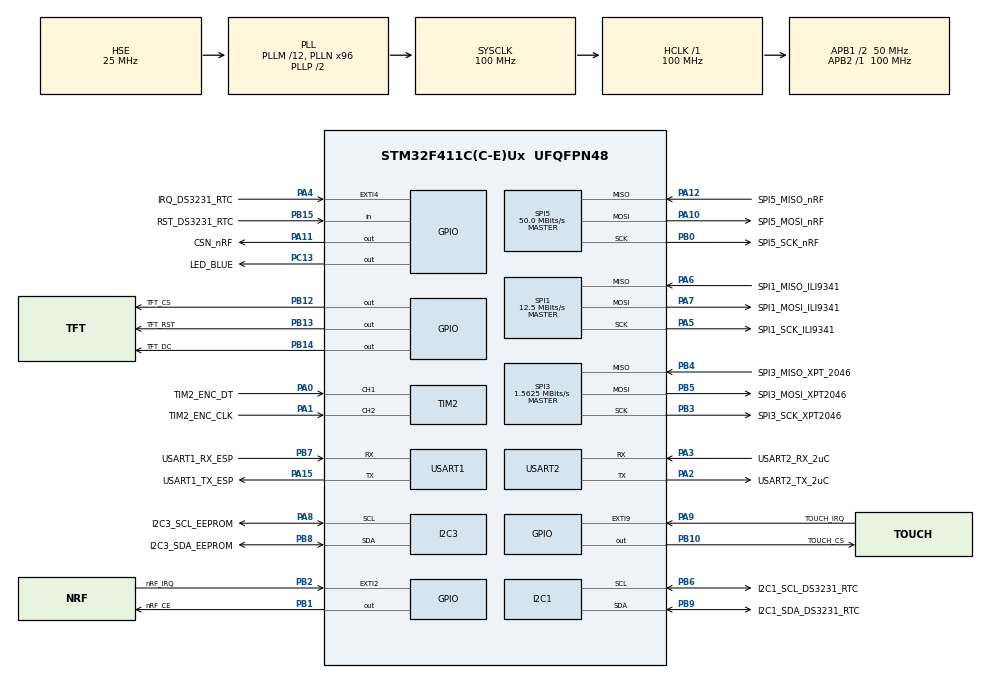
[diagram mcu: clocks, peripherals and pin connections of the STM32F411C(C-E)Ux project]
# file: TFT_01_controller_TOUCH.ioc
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Dma.I2C1_RX.2.Direction=DMA_PERIPH_TO_MEMORY
Dma.I2C1_RX.2.FIFOMode=DMA_FIFOMODE_DISABLE
Dma.I2C1_RX.2.Instance=DMA1_Stream0
Dma.I2C1_RX.2.MemDataAlignment=DMA_MDATAALIGN_BYTE
Dma.I2C1_RX.2.MemInc=DMA_MINC_ENABLE
Dma.I2C1_RX.2.Mode=DMA_NORMAL
Dma.I2C1_RX.2.PeriphDataAlignment=DMA_PDATAALIGN_BYTE
Dma.I2C1_RX.2.PeriphInc=DMA_PINC_DISABLE
Dma.I2C1_RX.2.Priority=DMA_PRIORITY_LOW
Dma.I2C1_TX.3.Direction=DMA_MEMORY_TO_PERIPH
Dma.I2C1_TX.3.FIFOMode=DMA_FIFOMODE_DISABLE
Dma.I2C1_TX.3.Instance=DMA1_Stream1
Dma.I2C1_TX.3.MemDataAlignment=DMA_MDATAALIGN_BYTE
Dma.I2C1_TX.3.MemInc=DMA_MINC_ENABLE
Dma.I2C1_TX.3.Mode=DMA_NORMAL
Dma.I2C1_TX.3.PeriphDataAlignment=DMA_PDATAALIGN_BYTE
Dma.I2C1_TX.3.PeriphInc=DMA_PINC_DISABLE
Dma.I2C1_TX.3.Priority=DMA_PRIORITY_LOW
Dma.Request0=USART2_RX
Dma.Request1=USART2_TX
Dma.Request2=I2C1_RX
Dma.Request3=I2C1_TX
Dma.Request4=USART1_RX
Dma.Request5=USART1_TX
Dma.USART1_RX.4.Direction=DMA_PERIPH_TO_MEMORY
Dma.USART1_RX.4.FIFOMode=DMA_FIFOMODE_DISABLE
Dma.USART1_RX.4.Instance=DMA2_Stream2
Dma.USART1_RX.4.MemDataAlignment=DMA_MDATAALIGN_BYTE
Dma.USART1_RX.4.MemInc=DMA_MINC_ENABLE
Dma.USART1_RX.4.Mode=DMA_NORMAL
Dma.USART1_RX.4.PeriphDataAlignment=DMA_PDATAALIGN_BYTE
Dma.USART1_RX.4.PeriphInc=DMA_PINC_DISABLE
Dma.USART1_RX.4.Priority=DMA_PRIORITY_LOW
Dma.USART1_TX.5.Direction=DMA_MEMORY_TO_PERIPH
Dma.USART1_TX.5.FIFOMode=DMA_FIFOMODE_DISABLE
Dma.USART1_TX.5.Instance=DMA2_Stream7
Dma.USART1_TX.5.MemDataAlignment=DMA_MDATAALIGN_BYTE
Dma.USART1_TX.5.MemInc=DMA_MINC_ENABLE
Dma.USART1_TX.5.Mode=DMA_NORMAL
Dma.USART1_TX.5.PeriphDataAlignment=DMA_PDATAALIGN_BYTE
Dma.USART1_TX.5.PeriphInc=DMA_PINC_DISABLE
Dma.USART1_TX.5.Priority=DMA_PRIORITY_LOW
Dma.USART2_RX.0.Direction=DMA_PERIPH_TO_MEMORY
Dma.USART2_RX.0.FIFOMode=DMA_FIFOMODE_DISABLE
Dma.USART2_RX.0.Instance=DMA1_Stream5
Dma.USART2_RX.0.MemDataAlignment=DMA_MDATAALIGN_BYTE
Dma.USART2_RX.0.MemInc=DMA_MINC_ENABLE
Dma.USART2_RX.0.Mode=DMA_NORMAL
Dma.USART2_RX.0.PeriphDataAlignment=DMA_PDATAALIGN_BYTE
Dma.USART2_RX.0.PeriphInc=DMA_PINC_DISABLE
Dma.USART2_RX.0.Priority=DMA_PRIORITY_LOW
Dma.USART2_TX.1.Direction=DMA_MEMORY_TO_PERIPH
Dma.USART2_TX.1.FIFOMode=DMA_FIFOMODE_DISABLE
Dma.USART2_TX.1.Instance=DMA1_Stream6
Dma.USART2_TX.1.MemDataAlignment=DMA_MDATAALIGN_BYTE
Dma.USART2_TX.1.MemInc=DMA_MINC_ENABLE
Dma.USART2_TX.1.Mode=DMA_NORMAL
Dma.USART2_TX.1.PeriphDataAlignment=DMA_PDATAALIGN_BYTE
Dma.USART2_TX.1.PeriphInc=DMA_PINC_DISABLE
Dma.USART2_TX.1.Priority=DMA_PRIORITY_LOW
I2C1.I2C_Mode=I2C_Fast
Mcu.Family=STM32F4
Mcu.Name=STM32F411C(C-E)Ux
Mcu.Package=UFQFPN48
NVIC.DMA1_Stream0_IRQn=true\:0\:0\:false\:false\:true\:false\:true
NVIC.DMA1_Stream1_IRQn=true\:0\:0\:false\:false\:true\:false\:true
NVIC.DMA1_Stream5_IRQn=true\:0\:0\:false\:false\:true\:false\:true
NVIC.DMA1_Stream6_IRQn=true\:0\:0\:false\:false\:true\:false\:true
NVIC.DMA2_Stream2_IRQn=true\:0\:0\:false\:false\:true\:false\:true
NVIC.DMA2_Stream7_IRQn=true\:0\:0\:false\:false\:true\:false\:true
NVIC.EXTI2_IRQn=true\:0\:0\:false\:false\:true\:true\:true
NVIC.EXTI4_IRQn=true\:0\:0\:false\:true\:true\:1\:true\:true
NVIC.EXTI9_5_IRQn=true\:0\:0\:true\:false\:true\:true\:true
NVIC.I2C1_ER_IRQn=true\:0\:0\:true\:false\:true\:true\:true
NVIC.I2C1_EV_IRQn=true\:0\:0\:true\:true\:true\:2\:true\:true
NVIC.PriorityGroup=NVIC_PRIORITYGROUP_4
NVIC.SPI3_IRQn=true\:0\:0\:false\:true\:true\:4\:true\:true
NVIC.TIM1_TRG_COM_TIM11_IRQn=true\:0\:0\:true\:false\:true\:true\:true
NVIC.TIM1_UP_TIM10_IRQn=true\:0\:0\:true\:false\:true\:true\:true
NVIC.USART1_IRQn=true\:0\:0\:false\:false\:true\:true\:true
NVIC.USART2_IRQn=true\:0\:0\:false\:true\:true\:3\:true\:true
PA0-WKUP.GPIO_Label=TIM2_ENC_DT
PA0-WKUP.Signal=S_TIM2_CH1_ETR
PA1.GPIO_Label=TIM2_ENC_CLK
PA1.Signal=S_TIM2_CH2
PA10.GPIO_Label=SPI5_MOSI_nRF
PA10.Mode=Full_Duplex_Master
PA10.Signal=SPI5_MOSI
PA11.GPIO_Label=CSN_nRF
PA11.Signal=GPIO_Output
PA12.GPIO_Label=SPI5_MISO_nRF
PA12.Mode=Full_Duplex_Master
PA12.Signal=SPI5_MISO
PA15.GPIO_Label=USART1_TX_ESP
PA15.Mode=Asynchronous
PA15.Signal=USART1_TX
PA2.GPIO_Label=USART2_TX_2uC
PA2.Mode=Asynchronous
PA2.Signal=USART2_TX
PA3.GPIO_Label=USART2_RX_2uC
PA3.Mode=Asynchronous
PA3.Signal=USART2_RX
PA4.GPIO_Label=IRQ_DS3231_RTC
PA4.GPIO_ModeDefaultEXTI=GPIO_MODE_IT_FALLING
PA4.GPIO_PuPd=GPIO_PULLUP
PA4.Signal=GPXTI4
PA5.GPIO_Label=SPI1_SCK_ILI9341
PA5.Mode=Full_Duplex_Master
PA5.Signal=SPI1_SCK
PA6.GPIO_Label=SPI1_MISO_ILI9341
PA6.Mode=Full_Duplex_Master
PA6.Signal=SPI1_MISO
PA7.GPIO_Label=SPI1_MOSI_ILI9341
PA7.Mode=Full_Duplex_Master
PA7.Signal=SPI1_MOSI
PA8.GPIO_Label=I2C3_SCL_EEPROM
PA8.Mode=I2C
PA8.Signal=I2C3_SCL
PA9.GPIO_Label=TOUCH_IRQ
PA9.GPIO_ModeDefaultEXTI=GPIO_MODE_IT_FALLING
PA9.Signal=GPXTI9
PB0.GPIO_Label=SPI5_SCK_nRF
PB0.Mode=Full_Duplex_Master
PB0.Signal=SPI5_SCK
PB1.GPIO_Label=nRF_CE
PB1.Signal=GPIO_Output
PB10.GPIO_Label=TOUCH_CS
PB10.Signal=GPIO_Output
PB12.GPIO_Label=TFT_CS
PB12.Signal=GPIO_Output
PB13.GPIO_Label=TFT_RST
PB13.Signal=GPIO_Output
PB14.GPIO_Label=TFT_DC
PB14.Signal=GPIO_Output
PB15.GPIO_Label=RST_DS3231_RTC
PB15.Signal=GPIO_Input
PB2.GPIO_Label=nRF_IRQ
PB2.Signal=GPXTI2
PB3.GPIO_Label=SPI3_SCK_XPT2046
PB3.Mode=Full_Duplex_Master
PB3.Signal=SPI3_SCK
PB4.GPIO_Label=SPI3_MISO_XPT_2046
PB4.Mode=Full_Duplex_Master
PB4.Signal=SPI3_MISO
PB5.GPIO_Label=SPI3_MOSI_XPT2046
PB5.Mode=Full_Duplex_Master
PB5.Signal=SPI3_MOSI
PB6.GPIO_Label=I2C1_SCL_DS3231_RTC
PB6.Mode=I2C
PB6.Signal=I2C1_SCL
PB7.GPIO_Label=USART1_RX_ESP
PB7.Mode=Asynchronous
PB7.Signal=USART1_RX
PB8.GPIO_Label=I2C3_SDA_EEPROM
PB8.Mode=I2C
PB8.Signal=I2C3_SDA
PB9.GPIO_Label=I2C1_SDA_DS3231_RTC
PB9.Mode=I2C
PB9.Signal=I2C1_SDA
PC13-ANTI_TAMP.GPIO_Label=LED_BLUE
PC13-ANTI_TAMP.Signal=GPIO_Output
PC14-OSC32_IN.Mode=LSE-External-Oscillator
PC14-OSC32_IN.Signal=RCC_OSC32_IN
PC15-OSC32_OUT.Mode=LSE-External-Oscillator
PC15-OSC32_OUT.Signal=RCC_OSC32_OUT
PH0\ -\ OSC_IN.Mode=HSE-External-Oscillator
PH0\ -\ OSC_IN.Signal=RCC_OSC_IN
PH1\ -\ OSC_OUT.Mode=HSE-External-Oscillator
PH1\ -\ OSC_OUT.Signal=RCC_OSC_OUT
ProjectManager.HeapSize=0x200
ProjectManager.StackSize=0x400
ProjectManager.TargetToolchain=STM32CubeIDE
RCC.48MHZClocksFreq_Value=50000000
RCC.AHBFreq_Value=100000000
RCC.APB1CLKDivider=RCC_HCLK_DIV2
RCC.APB1Freq_Value=50000000
RCC.APB1TimFreq_Value=100000000
RCC.APB2Freq_Value=100000000
RCC.APB2TimFreq_Value=100000000
RCC.CortexFreq_Value=100000000
RCC.HCLKFreq_Value=100000000
RCC.HSE_VALUE=25000000
RCC.HSI_VALUE=16000000
RCC.PLLM=12
RCC.PLLN=96
RCC.PLLSourceVirtual=RCC_PLLSOURCE_HSE
RCC.SYSCLKFreq_VALUE=100000000
RCC.SYSCLKSource=RCC_SYSCLKSOURCE_PLLCLK
RCC.VCOOutputFreq_Value=200000000
SH.S_TIM2_CH1_ETR.0=TIM2_CH1,Encoder_Interface
SH.S_TIM2_CH2.0=TIM2_CH2,Encoder_Interface
SPI1.BaudRatePrescaler=SPI_BAUDRATEPRESCALER_8
SPI1.CalculateBaudRate=12.5 MBits/s
SPI1.Direction=SPI_DIRECTION_2LINES
SPI1.Mode=SPI_MODE_MASTER
SPI1.VirtualType=VM_MASTER
SPI3.BaudRatePrescaler=SPI_BAUDRATEPRESCALER_32
SPI3.CalculateBaudRate=1.5625 MBits/s
SPI3.Direction=SPI_DIRECTION_2LINES
SPI3.Mode=SPI_MODE_MASTER
SPI3.VirtualType=VM_MASTER
SPI5.CalculateBaudRate=50.0 MBits/s
SPI5.Direction=SPI_DIRECTION_2LINES
SPI5.Mode=SPI_MODE_MASTER
SPI5.VirtualType=VM_MASTER
TIM10.Period=9999
TIM10.Prescaler=9999
TIM11.ClockDivision=TIM_CLOCKDIVISION_DIV4
TIM11.Period=29999
TIM11.Prescaler=14999
USART1.VirtualMode=VM_ASYNC
USART2.VirtualMode=VM_ASYNC
VP_TIM10_VS_ClockSourceINT.Mode=Enable_Timer
VP_TIM11_VS_ClockSourceINT.Mode=Enable_Timer
board=custom

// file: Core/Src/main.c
/* USER CODE BEGIN Header */
/**
  ******************************************************************************
  * @file           : main.c
  * @project		: free_michelle
  * @author			: grados73 - https://github.com/grados73
  * @purpose		: TFT touch display controller for communication interface with
  * 				  user for aquarium controller project named "FREE MICHELLE"
  * @todo			: Use confirmation of make orders
  * 				: Read PH
  * 				: Schedule of activity (need EEPROM memory)
  * 				: Online access by ESP with push messages
  * 				: UPS
  * 				: Watchdog
  * 				: Add on screen: printf("Compiled on %s, %s\n" __DATE__, __TIME__); uC gosu l 5.7
  *					: and printf("Error in file: %s, Function: %s, Line: %d\n", __FILE__, __func__, __LINE__);
  *					: pragma once or HeaderGuards in every .h file
  ******************************************************************************
  **/
/* USER CODE END Header */
#include "main.h"
#include "dma.h"
#include "i2c.h"
#include "spi.h"
#include "tim.h"
#include "usart.h"
#include "gpio.h"

/* USER CODE BEGIN Includes */
/* STANDARD LIBRARIES */
#include "string.h"
#include "stdio.h"
#include "stdlib.h"
/* PRRIVATE FILES */
#include "TFT_ILI9341.h"	//TFT
#include "GFX_Color.h"
#include "GFX_EnhancedFonts.h"
#include "XPT2064.h"	//touch
#include "functions.h"
#include "uartdma.h"
#include "parser.h"
#include "menuTFT.h"
#include "ds3231_for_stm32_hal.h"	//RTC
#include "eeprom.h"
#include "ESP_parse.h"
/* PRRIVATE FONTS*/
#include "EnhancedFonts/arialBlack_20ptFontInfo.h"
#include "EnhancedFonts/arialBlack_11ptFontInfo.h"
#include "EnhancedFonts/ArialBlack_28pts_bold.h" // fonts without polish char! Warning!

/* USER CODE END Includes */

/* USER CODE BEGIN PV */
//
// Private Variables
//
UARTDMA_HandleTypeDef huartdma2;	// to second uC
UARTDMA_HandleTypeDef huartdma1;	// to ESP

// !! to check multiple definition of hi2c
// I2C_HandleTypeDef hi2c1;

uint8_t MsgMain[64]= {0};
//
// To update current displayed clock - current TFT screen displayed
extern MenuTFTState State;
extern uint32_t activitiesDurationTimeInSeconds;
//
// To count time duration Activity
uint8_t FeedingCounter = 0;
/* USER CODE END PV */

void SystemClock_Config(void);
static void MX_NVIC_Init(void);

int main(void)
{

  /* MCU Configuration--------------------------------------------------------*/

  /* Reset of all peripherals, Initializes the Flash interface and the Systick. */
  HAL_Init();

  /* Configure the system clock */
  SystemClock_Config();

  /* Initialize all configured peripherals */
  MX_GPIO_Init();
  MX_SPI1_Init();
  MX_DMA_Init();
  MX_USART2_UART_Init();
  MX_SPI3_Init();
  MX_I2C1_Init();
  MX_TIM11_Init();
  MX_TIM10_Init();
  MX_I2C3_Init();
  MX_SPI5_Init();
  MX_USART1_UART_Init();
  MX_TIM2_Init();

  /* Initialize interrupts */
  MX_NVIC_Init();
  /* USER CODE BEGIN 2 */
  //
  // TFT controller INIT
  ILI9341_Init(&hspi1);
  // UART in DMA mode with use RingBuffer INIT
  UARTDMA_Init(&huartdma2, &huart2);
  UARTDMA_Init(&huartdma1, &huart1);
  // TFT touch controller INIT
  XPT2046_Init(&hspi3, EXTI9_5_IRQn);
  // RTC Initialization - I2C1
  DS3231_Init(&hi2c1);
  DS3231_SetInterruptMode(DS3231_ALARM_INTERRUPT);
  DS3231_SetRateSelect(DS3231_1HZ);
  DS3231_EnableOscillator(DS3231_ENABLED);
  // EEPROM CHECK TODO! Add check of eeprom and informing on screen about results
  uint8_t result = 0;
  eeprom_read(0x01, &result, sizeof(result));

  //Timer START
  HAL_TIM_Base_Start_IT(&htim11);

  HAL_TIM_Encoder_Start(&htim2, TIM_CHANNEL_ALL);

  int16_t EncoderValue = 0;
  /* USER CODE END 2 */

  /* Infinite loop */
  /* USER CODE BEGIN WHILE */
  while (1)
  {

	  //////////////////////////////////////////////////////
	  // RECEIVE DATA FROM SECUND uC
	  //
	  if(UARTDMA_IsDataReceivedReady(&huartdma2))
	  {
		  UART_ParseLine(&huartdma2); // Parsing function
	  }

	  //
	  // TRANSMIT DATA AND COMAND TO SECOND uC
	  //
	  UARTDMA_TransmitEvent(&huartdma2);

	  //////////////////////////////////////////////////////
	  // RECEIVE DATA FROM ESP
	  //
	  if(UARTDMA_IsDataReceivedReady(&huartdma1))
	  {
		  UART_ESP_ParseLine(&huartdma1); // Parsing function
	  }

	  //
	  // TRANSMIT DATA AND COMAND TO ESP
	  //
	  UARTDMA_TransmitEvent(&huartdma1);

	  ////////////////////////////////////////////////////////
	  // TOUCH SCREEN
	  //
	  XPT2046_Task();

	  //
	  // CURRENT DISPLAYED SCREEN
	  //
	  MenuTFT();
	  ////////////////////////////////////////////////////////

	  EncoderValue = __HAL_TIM_GET_COUNTER(&htim2);
	  encoderUpgrade(&EncoderValue);

    /* USER CODE END WHILE */

  }
}

void SystemClock_Config(void)
{
  RCC_OscInitTypeDef RCC_OscInitStruct = {0};
  RCC_ClkInitTypeDef RCC_ClkInitStruct = {0};

  /** Configure the main internal regulator output voltage
  */
  __HAL_RCC_PWR_CLK_ENABLE();
  __HAL_PWR_VOLTAGESCALING_CONFIG(PWR_REGULATOR_VOLTAGE_SCALE1);
  /** Initializes the RCC Oscillators according to the specified parameters
  * in the RCC_OscInitTypeDef structure.
  */
  RCC_OscInitStruct.OscillatorType = RCC_OSCILLATORTYPE_HSE;
  RCC_OscInitStruct.HSEState = RCC_HSE_ON;
  RCC_OscInitStruct.PLL.PLLState = RCC_PLL_ON;
  RCC_OscInitStruct.PLL.PLLSource = RCC_PLLSOURCE_HSE;
  RCC_OscInitStruct.PLL.PLLM = 12;
  RCC_OscInitStruct.PLL.PLLN = 96;
  RCC_OscInitStruct.PLL.PLLP = RCC_PLLP_DIV2;
  RCC_OscInitStruct.PLL.PLLQ = 4;
  if (HAL_RCC_OscConfig(&RCC_OscInitStruct) != HAL_OK)
  {
    Error_Handler();
  }
  /** Initializes the CPU, AHB and APB buses clocks
  */
  RCC_ClkInitStruct.ClockType = RCC_CLOCKTYPE_HCLK|RCC_CLOCKTYPE_SYSCLK
                              |RCC_CLOCKTYPE_PCLK1|RCC_CLOCKTYPE_PCLK2;
  RCC_ClkInitStruct.SYSCLKSource = RCC_SYSCLKSOURCE_PLLCLK;
  RCC_ClkInitStruct.AHBCLKDivider = RCC_SYSCLK_DIV1;
  RCC_ClkInitStruct.APB1CLKDivider = RCC_HCLK_DIV2;
  RCC_ClkInitStruct.APB2CLKDivider = RCC_HCLK_DIV1;

  if (HAL_RCC_ClockConfig(&RCC_ClkInitStruct, FLASH_LATENCY_3) != HAL_OK)
  {
    Error_Handler();
  }
}

/**
  * @brief NVIC Configuration.
  * @retval None
  */
static void MX_NVIC_Init(void)
{
  /* EXTI4_IRQn interrupt configuration */
  HAL_NVIC_SetPriority(EXTI4_IRQn, 0, 0);
  HAL_NVIC_EnableIRQ(EXTI4_IRQn);
  /* I2C1_EV_IRQn interrupt configuration */
  HAL_NVIC_SetPriority(I2C1_EV_IRQn, 0, 0);
  HAL_NVIC_EnableIRQ(I2C1_EV_IRQn);
  /* USART2_IRQn interrupt configuration */
  HAL_NVIC_SetPriority(USART2_IRQn, 0, 0);
  HAL_NVIC_EnableIRQ(USART2_IRQn);
  /* SPI3_IRQn interrupt configuration */
  HAL_NVIC_SetPriority(SPI3_IRQn, 0, 0);
  HAL_NVIC_EnableIRQ(SPI3_IRQn);
}

/* USER CODE BEGIN 4 */
// Periodic interrupt from TIMERS Callback
void HAL_TIM_PeriodElapsedCallback(TIM_HandleTypeDef *htim)
{
	if(htim->Instance == TIM11) // Update event one per 8 seconds
	{
		ChangeHourOnScreen(); // Check if current showing hour are different from this from RTC and change it
	}
	if(htim->Instance == TIM10) // Update even each second - one per second 1/s
	{
		//TODO! Make possibility to change FEEDING_TIME_IN_S
		if(FeedingCounter >= activitiesDurationTimeInSeconds) // timer to count seconds from start feeding to turn off this activity
		{
			HAL_GPIO_TogglePin(LED_BLUE_GPIO_Port, LED_BLUE_Pin);
			predefinedActivityKarmienie(0);
			FeedingCounter = 0;
			HAL_TIM_Base_Stop_IT(&htim10);

		}
		FeedingCounter++;
	}
}

// Output interrupt from GPIO etc. Callback
void HAL_GPIO_EXTI_Callback(uint16_t GPIO_Pin)
{
	if(GPIO_Pin == TOUCH_IRQ_Pin) // Interrupt from XPT2046 - touch screen controler
	{
		XPT2046_IRQ();
	}

	if(GPIO_Pin == IRQ_DS3231_RTC_Pin) // Interrupt from RTC - alarm one per minute
	{
		DS3231_ClearAlarm2Flag();
	}
}

/* USER CODE END 4 */

void Error_Handler(void)
{
  /* USER CODE BEGIN Error_Handler_Debug */
  /* User can add his own implementation to report the HAL error return state */

	ILI9341_ClearDisplay(ILI9341_RED);
	EF_SetFont(&arial_11ptFontInfo);
	sprintf((char*)MsgMain, "Error in Function: %s\n", __FILE__);
	EF_PutString(MsgMain, ERROR_FILE_POZ_X, ERROR_FILE_POZ_Y, ILI9341_BLACK, BG_COLOR, ILI9341_RED);
	sprintf((char*)MsgMain, "Function: %s, Line: %d\n",__func__, (int)__LINE__);
	EF_PutString(MsgMain, ERROR_FUNC_AND_LINE_POZ_X, ERROR_FUNC_AND_LINE_POZ_Y, ILI9341_BLACK, BG_COLOR, ILI9341_RED);

  __disable_irq();

  while (1)
  {
  }
  /* USER CODE END Error_Handler_Debug */
}
